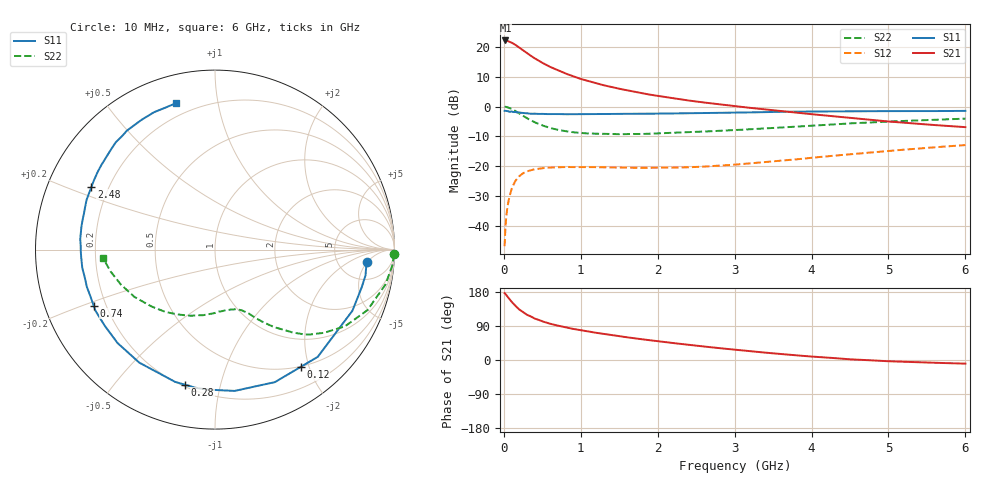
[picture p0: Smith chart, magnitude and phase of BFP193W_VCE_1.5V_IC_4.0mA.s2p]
! Infineon Technologies  Discrete & RF Semiconductors
! BFP193W
! VCE = 1.5 V,  IC =  4.0 mA
! Common Emitter S-Parameters:  Jan 2016
# GHz  S  MA  R  50
!  f  S11  S21  S12  S22
! GHz  MAG  ANG  MAG  ANG  MAG  ANG  MAG  ANG
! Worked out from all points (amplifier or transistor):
!   210 points, 10 MHz to 6 GHz, reference 50 ohm
!   highest |S21| = 22.2 dB at 20 MHz (marker M1)
!   |S21| within 3 dB of that: start of sweep to 233.2 MHz
!   unconditionally stable (mu >= 1): 1.746 GHz to 5.558 GHz
!   at 185 MHz: K = 0.12, MSG = 22.0 dB, |S12| = -23.9 dB
!   at 1.52 GHz: K = 0.88, MSG = 13.2 dB, |S12| = -20.5 dB
!   at 6 GHz: K = 0.97, MSG = 3.0 dB, |S12| = -13.0 dB
!   S11 on the Smith chart (normalised r, x): 10 MHz: 10, -5; 120 MHz: 0.49, -1.86; 280 MHz: 0.21, -0.78; 740 MHz: 0.15, -0.21; 2.48 GHz: 0.14, +0.24; 6 GHz: 0.13, +0.76
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0.01  0.8473 -4.8  12.83 176.5  0.0045 88.1  0.9961 -1.5
0.02  0.8508 -9.7  12.88 174.6  0.009 84.7  0.993 -4.8
0.03  0.844 -14.4  12.85 171.9  0.0132 83.3  0.984 -7.0
0.055  0.8313 -26.2  12.54 165.3  0.0236 75.5  0.9631 -12.5
0.1  0.8275 -46.2  11.87 153.9  0.0407 66.5  0.9145 -21.6
0.12  0.8093 -53.9  11.43 149.6  0.0467 61.8  0.8827 -25.0
0.15  0.8102 -65.7  10.9 142.6  0.0562 56.6  0.8412 -30.5
0.2  0.7949 -82.1  9.78 133.4  0.0673 49.0  0.7648 -37.3
0.28  0.7712 -102.4  8.235 122.2  0.079 39.6  0.6594 -45.1
0.3  0.7696 -106.8  7.876 119.4  0.0813 37.7  0.6343 -46.8
0.4  0.758 -123.8  6.465 109.5  0.0882 30.4  0.5428 -52.7
0.5  0.7522 -136.2  5.423 101.8  0.0921 25.8  0.4808 -56.7
0.6  0.7466 -145.4  4.643 95.7  0.0944 22.3  0.4364 -59.8
0.74  0.7446 -155.2  3.876 89.0  0.0956 19.6  0.3971 -62.8
1.02  0.7423 -168.8  2.858 77.8  0.0961 16.2  0.3576 -69.0
1.4  0.7486 178.3  2.123 65.6  0.0948 15.8  0.3451 -77.1
2.02  0.7606 162.6  1.496 49.1  0.0937 20.8  0.3546 -91.1
2.48  0.7723 153.0  1.224 38.4  0.0962 26.5  0.3738 -102.1
3.1  0.7923 141.3  0.98 25.3  0.108 34.0  0.4078 -116.8
4.1  0.825 125.1  0.722 7.8  0.1415 39.6  0.4828 -140.7
5.1  0.8372 113.1  0.547 -3.9  0.1837 38.5  0.5655 -161.5
6  0.8441 105.1  0.45 -9.6  0.225 34.7  0.6256 -175.7
